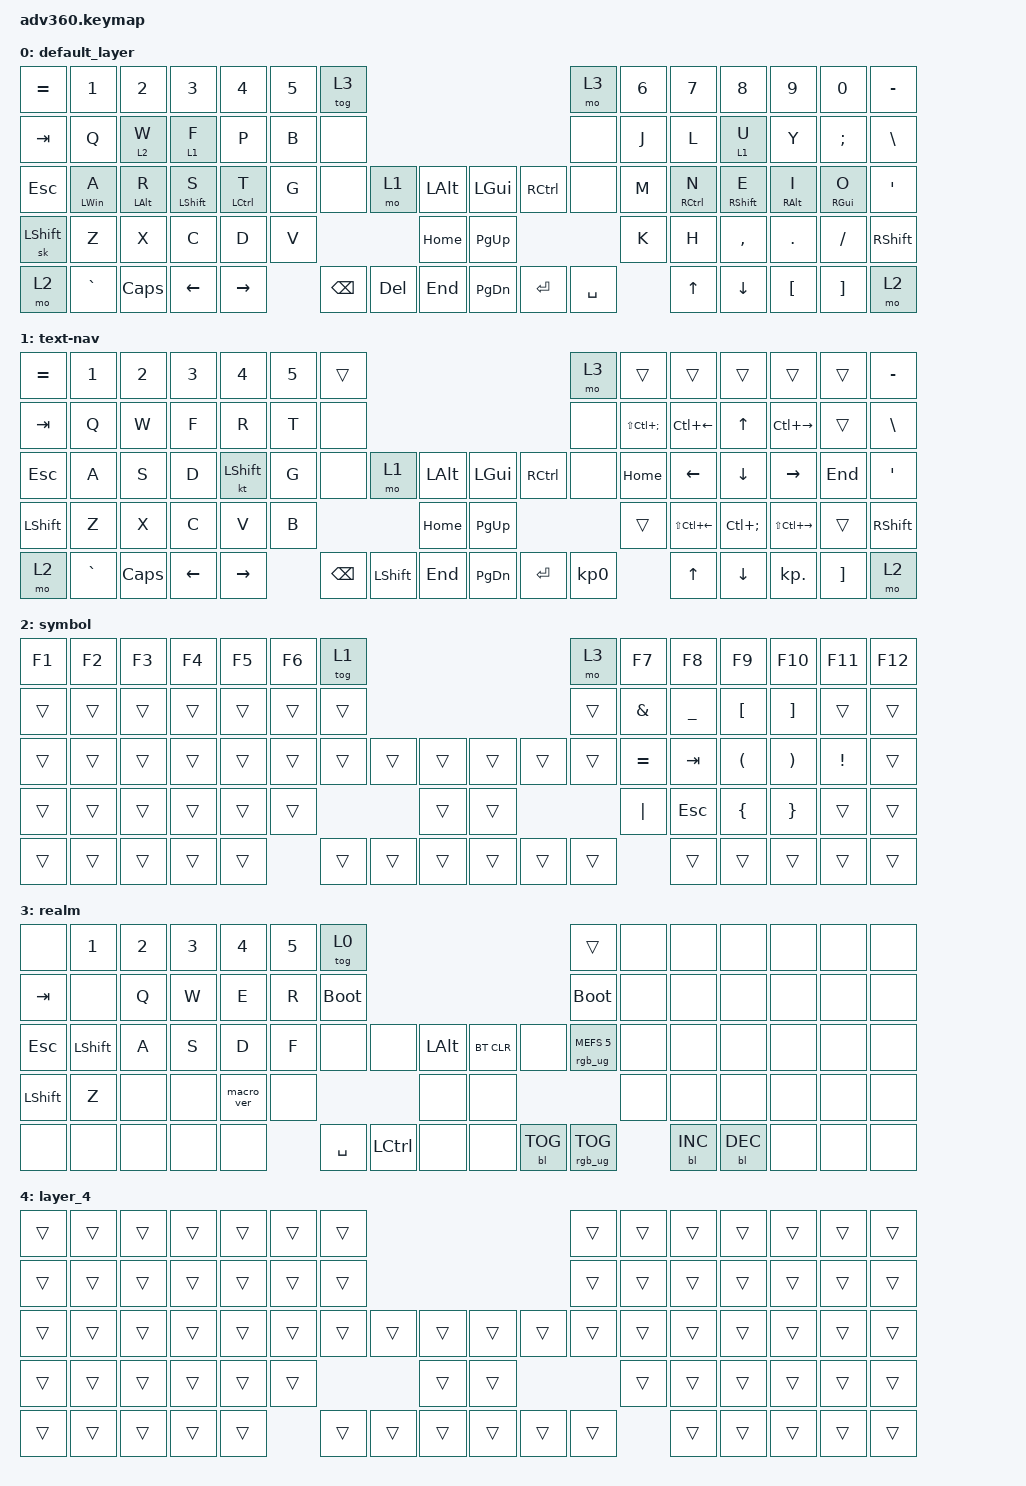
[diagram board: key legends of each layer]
#include <behaviors.dtsi>
#include <dt-bindings/zmk/backlight.h>
#include <dt-bindings/zmk/bt.h>
#include <dt-bindings/zmk/keys.h>
#include <dt-bindings/zmk/keys.h>
#include <dt-bindings/zmk/rgb.h>

/ {
    behaviors {
        #include "macros.dtsi"
      #include "version.dtsi"
      #ifndef VERSION_MACRO

        macro_ver: macro_ver {
            compatible = "zmk,behavior-macro";
            label = "macro_version";
            #binding-cells = <0>;
            bindings = <&kp RET>;
        };

        #endif

        hml: hml {
            compatible = "zmk,behavior-hold-tap";
            label = "HML";
            bindings = <&kp>, <&kp>;

            #binding-cells = <2>;
            tapping-term-ms = <280>;
            quick-tap-ms = <175>;
            flavor = "balanced";
            require-prior-idle-ms = <150>;
            hold-trigger-on-release;
            hold-trigger-key-positions = <7 8 9 10 11 12 13 21 22 23 24 25 26 27 37 38 39 40 41 42 43 44 45 53 54 55 56 57 58 59 68 69 70 71 72 73 74 75 35 36 52 65 66 67>;
        };

        hmr: hmr {
            compatible = "zmk,behavior-hold-tap";
            label = "HMR";
            bindings = <&kp>, <&kp>;

            #binding-cells = <2>;
            tapping-term-ms = <280>;
            quick-tap-ms = <175>;
            flavor = "balanced";
            hold-trigger-key-positions = <0 1 2 3 4 5 6 14 15 16 17 18 19 20 28 29 30 31 32 33 34 35 36 46 47 48 49 50 51 52 60 61 62 63 64 65 66 67 37 38 53 68 69 70>;
            require-prior-idle-ms = <150>;
            hold-trigger-on-release;
        };

        navholdL: navholdL {
            compatible = "zmk,behavior-hold-tap";
            label = "NAVHOLDL";
            bindings = <&mo>, <&kp>;

            #binding-cells = <2>;
            tapping-term-ms = <280>;
            quick-tap-ms = <175>;
            require-prior-idle-ms = <120>;
            flavor = "balanced";
            hold-trigger-on-release;
            hold-trigger-key-positions = <7 8 9 10 11 12 13 21 22 23 24 25 26 27 38 39 40 41 42 43 44 45 54 55 56 57 58 59 69 70 71 72 73 74 75 37 38 53 68 69 70 35 36 52 66 67 65>;
        };

        navholR: navholR {
            compatible = "zmk,behavior-hold-tap";
            label = "NAVHOLR";
            bindings = <&mo>, <&kp>;

            #binding-cells = <2>;
            tapping-term-ms = <280>;
            quick-tap-ms = <175>;
            require-prior-idle-ms = <150>;
            flavor = "balanced";
            hold-trigger-key-positions = <0 1 2 3 4 5 6 14 15 16 17 18 19 20 28 29 30 31 32 33 34 35 36 46 47 48 49 50 51 52 60 61 62 63 64 65 66 67 37 38 53 68 69 70>;
            hold-trigger-on-release;
        };

        left_win_mod: left_win_mod {
            compatible = "zmk,behavior-hold-tap";
            label = "LEFT_WIN_MOD";
            bindings = <&kp>, <&kp>;

            #binding-cells = <2>;
            hold-trigger-key-positions = <8 22 40 54 70 7 8 9 10 11 12 13 21 22 24 25 26 27 38 39 40 41 42 43 44 45 54 55 56 57 58 59 71 72 73 74 75 37 38 53 68 69 70>;
            tapping-term-ms = <280>;
            quick-tap-ms = <175>;
            require-prior-idle-ms = <150>;
            flavor = "balanced";
            hold-trigger-on-release;
        };
    };

    macros {
    };

    keymap {
        compatible = "zmk,keymap";

        default_layer {
            bindings = <
&kp EQUAL       &kp N1                    &kp N2           &kp N3             &kp N4               &kp N5  &tog 3                                                 &mo 3      &kp N6  &kp N7                &kp N8              &kp N9            &kp N0            &kp MINUS
&kp TAB         &kp Q                     &navholdL 2 W    &navholdL 1 F      &kp P                &kp B   &none                                                  &none      &kp J   &kp L                 &navholR 1 U        &kp Y             &kp SEMICOLON     &kp BSLH
&kp ESC         &left_win_mod LEFT_WIN A  &hml LEFT_ALT R  &hml LEFT_SHIFT S  &hml LEFT_CONTROL T  &kp G   &none     &mo 1    &kp LALT      &kp LGUI   &kp RCTRL  &none      &kp M   &hmr RIGHT_CONTROL N  &hmr RIGHT_SHIFT E  &hmr RIGHT_ALT I  &hmr RIGHT_GUI O  &kp SQT
&sk LEFT_SHIFT  &kp Z                     &kp X            &kp C              &kp D                &kp V                      &kp HOME      &kp PG_UP                        &kp K   &kp H                 &kp COMMA           &kp DOT           &kp FSLH          &kp RSHFT
&mo 2           &kp GRAVE                 &kp CAPS         &kp LEFT           &kp RIGHT                    &kp BSPC  &kp DEL  &kp END       &kp PG_DN  &kp ENTER  &kp SPACE          &kp UP                &kp DOWN            &kp LBKT          &kp RBKT          &mo 2
            >;
        };

        text-nav {
            bindings = <
&kp EQUAL  &kp N1     &kp N2    &kp N3    &kp N4          &kp N5  &trans                                                        &mo 3      &trans                 &trans            &trans        &trans             &trans    &kp MINUS
&kp TAB    &kp Q      &kp W     &kp F     &kp R           &kp T   &none                                                         &none      &kp LS(LC(SEMICOLON))  &kp LC(LEFT)      &kp UP        &kp LC(RIGHT)      &trans    &kp BSLH
&kp ESC    &kp A      &kp S     &kp D     &kt LEFT_SHIFT  &kp G   &none     &mo 1           &kp LALT      &kp LGUI   &kp RCTRL  &none      &kp HOME               &kp LEFT          &kp DOWN      &kp RIGHT          &kp END   &kp SQT
&kp LSHFT  &kp Z      &kp X     &kp C     &kp V           &kp B                             &kp HOME      &kp PG_UP                        &trans                 &kp LS(LC(LEFT))  &kp LC(SEMI)  &kp LS(LC(RIGHT))  &trans    &kp RSHFT
&mo 2      &kp GRAVE  &kp CAPS  &kp LEFT  &kp RIGHT               &kp BSPC  &kp LEFT_SHIFT  &kp END       &kp PG_DN  &kp ENTER  &kp KP_N0                         &kp UP            &kp DOWN      &kp KP_DOT         &kp RBKT  &mo 2
            >;
        };

        symbol {
            bindings = <
&kp F1  &kp F2  &kp F3  &kp F4  &kp F5  &kp F6  &tog 1                                      &mo 3   &kp F7     &kp F8          &kp F9                &kp F10                &kp F11          &kp F12
&trans  &trans  &trans  &trans  &trans  &trans  &trans                                      &trans  &kp AMPS   &kp UNDERSCORE  &kp LEFT_BRACKET      &kp RIGHT_BRACKET      &trans           &trans
&trans  &trans  &trans  &trans  &trans  &trans  &trans  &trans  &trans      &trans  &trans  &trans  &kp EQUAL  &kp TAB         &kp LEFT_PARENTHESIS  &kp RIGHT_PARENTHESIS  &kp EXCLAMATION  &trans
&trans  &trans  &trans  &trans  &trans  &trans                  &trans      &trans                  &kp PIPE   &kp ESCAPE      &kp LEFT_BRACE        &kp RIGHT_BRACE        &trans           &trans
&trans  &trans  &trans  &trans  &trans          &trans  &trans  &trans      &trans  &trans  &trans             &trans          &trans                &trans                 &trans           &trans
            >;
        };

        realm {
            bindings = <
&none       &kp NUMBER_1    &kp NUMBER_2  &kp NUMBER_3  &kp NUMBER_4  &kp N5  &tog 0                                                                   &trans                  &none  &none       &none       &none  &none  &none
&kp TAB     &none           &kp Q         &kp W         &kp E         &kp R   &bootloader                                                              &bootloader             &none  &none       &none       &none  &none  &none
&kp ESCAPE  &kp LEFT_SHIFT  &kp A         &kp S         &kp D         &kp F   &none        &none             &kp LEFT_ALT      &bt BT_CLR  &none       &rgb_ug RGB_MEFS_CMD 5  &none  &none       &none       &none  &none  &none
&kp LSHFT   &kp Z           &none         &none         &macro_ver    &none                                  &none             &none                                           &none  &none       &none       &none  &none  &none
&none       &none           &none         &none         &none                 &kp SPACE    &kp LEFT_CONTROL  &none             &none       &bl BL_TOG  &rgb_ug RGB_TOG                &bl BL_INC  &bl BL_DEC  &none  &none  &none
            >;
        };

        layer_4 {
            bindings = <
&trans  &trans  &trans  &trans  &trans  &trans  &trans                                      &trans  &trans  &trans  &trans  &trans  &trans  &trans
&trans  &trans  &trans  &trans  &trans  &trans  &trans                                      &trans  &trans  &trans  &trans  &trans  &trans  &trans
&trans  &trans  &trans  &trans  &trans  &trans  &trans  &trans  &trans      &trans  &trans  &trans  &trans  &trans  &trans  &trans  &trans  &trans
&trans  &trans  &trans  &trans  &trans  &trans                  &trans      &trans                  &trans  &trans  &trans  &trans  &trans  &trans
&trans  &trans  &trans  &trans  &trans          &trans  &trans  &trans      &trans  &trans  &trans          &trans  &trans  &trans  &trans  &trans
            >;
        };
    };
};
